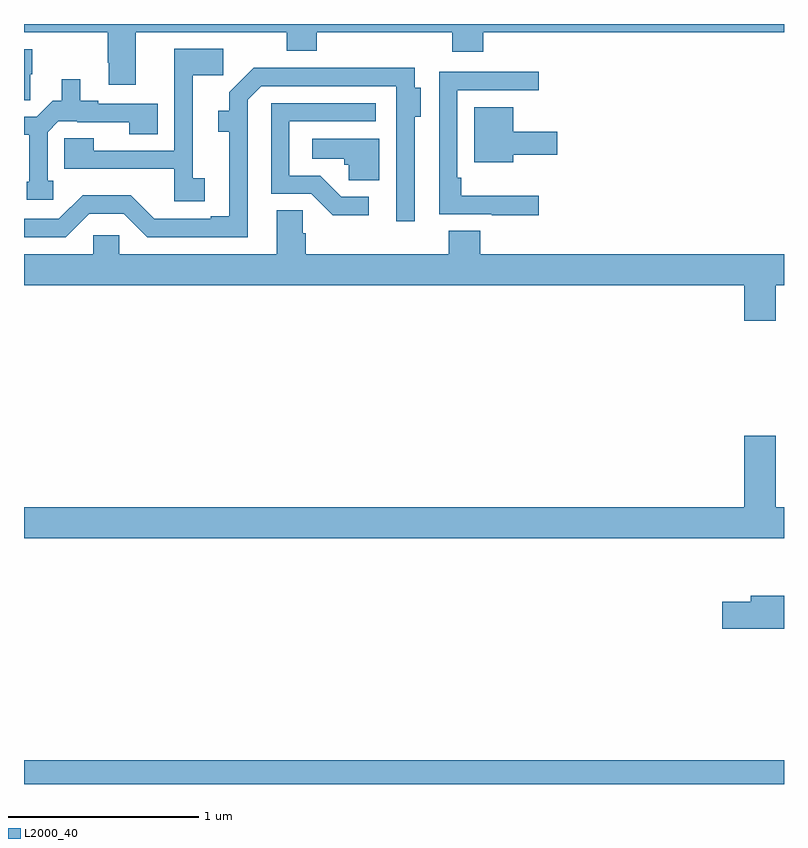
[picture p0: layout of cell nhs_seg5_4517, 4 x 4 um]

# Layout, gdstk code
import gdstk
lib = gdstk.Library(unit=1e-6, precision=1e-09)
def R(c, l, rs):  # rectangles x0, y0, x1, y1
    for r in rs: c.add(gdstk.rectangle(r[:2], r[2:], *l))
def P(c, l, *ps):  # polygons
    for p in ps: c.add(gdstk.Polygon(p, *l))
L2000_40 = (2000, 40)

nhs_seg5_4517 = lib.new_cell('nhs_seg5_4517')
R(nhs_seg5_4517, L2000_40, [(377,856.799,381,856.924)])
P(nhs_seg5_4517, L2000_40, [(377.587,860.756),(378.382,860.756),(378.382,860.657),(378.542,860.657),(378.542,860.756),(379.253,860.756),(379.253,860.654),(379.418,860.654),(379.418,860.756),(381,860.756),(381,860.799),(377,860.799),(377,860.756),(377.44,860.756),(377.44,860.596),(377.447,860.596),(377.447,860.478),(377.587,860.478)],
  [(377.95,859.986),(377.887,859.986),(377.887,860.529),(378.048,860.529),(378.048,860.668),(377.79,860.668),(377.79,860.133),(377.367,860.133),(377.367,860.198),(377.213,860.198),(377.213,860.037),(377.323,860.037),(377.323,860.036),(377.79,860.036),(377.79,859.866),(377.95,859.866)],
  [(377.033,860.535),(377.043,860.535),(377.043,860.667),(377,860.667),(377,860.398),(377.033,860.398)],
  [(377.343,859.8),(377.526,859.8),(377.649,859.677),(378.177,859.677),(378.177,860.4),(378.249,860.472),(378.96,860.472),(378.96,859.761),(379.056,859.761),(379.056,860.312),(379.087,860.312),(379.087,860.464),(379.056,860.464),(379.056,860.57),(378.625,860.57),(378.625,860.568),(378.31,860.568),(378.31,860.57),(378.209,860.57),(378.08,860.44),(378.08,860.342),(378.023,860.342),(378.023,860.232),(378.08,860.232),(378.08,859.786),(377.984,859.786),(377.984,859.773),(377.686,859.773),(377.562,859.897),(377.308,859.897),(377.184,859.773),(377,859.773),(377,859.677),(377.22,859.677)],
  [(379.708,859.894),(379.301,859.894),(379.301,859.99),(379.281,859.99),(379.281,860.451),(379.708,860.451),(379.708,860.547),(379.185,860.547),(379.185,859.797),(379.463,859.797),(379.463,859.793),(379.708,859.793)],
  [(377.154,859.974),(377.124,859.974),(377.124,860.229),(377.181,860.286),(377.281,860.286),(377.281,860.283),(377.554,860.283),(377.554,860.218),(377.705,860.218),(377.705,860.379),(377.392,860.379),(377.392,860.394),(377.296,860.394),(377.296,860.509),(377.198,860.509),(377.198,860.394),(377.151,860.394),(377.067,860.31),(377,860.31),(377,860.217),(377.028,860.217),(377.028,859.968),(377.015,859.968),(377.015,859.875),(377.154,859.875)],
  [(378.814,859.89),(378.669,859.89),(378.558,860.001),(378.396,860.001),(378.396,860.286),(378.85,860.286),(378.85,860.382),(378.3,860.382),(378.3,859.905),(378.513,859.905),(378.626,859.793),(378.814,859.793)],
  [(379.576,860.111),(379.807,860.111),(379.807,860.233),(379.576,860.233),(379.576,860.362),(379.37,860.362),(379.37,860.072),(379.576,860.072)],
  [(378.871,860.194),(378.516,860.194),(378.516,860.09),(378.686,860.09),(378.686,860.058),(378.708,860.058),(378.708,859.976),(378.871,859.976)],
  [(380.956,859.424),(381,859.424),(381,859.588),(379.4,859.588),(379.4,859.712),(379.235,859.712),(379.235,859.588),(378.482,859.588),(378.482,859.697),(378.468,859.697),(378.468,859.82),(378.329,859.82),(378.329,859.588),(377.502,859.588),(377.502,859.686),(377.364,859.686),(377.364,859.588),(377,859.588),(377,859.424),(380.792,859.424),(380.792,859.236),(380.956,859.236)],
  [(381,858.256),(380.956,858.256),(380.956,858.631),(380.792,858.631),(380.792,858.256),(377,858.256),(377,858.092),(381,858.092)],
  [(381,857.791),(380.825,857.791),(380.825,857.757),(380.676,857.757),(380.676,857.615),(381,857.615)])

lib.write_gds('nhs_seg5_4517.gds')
